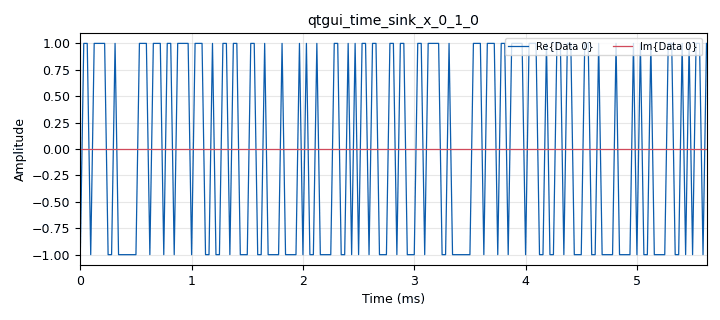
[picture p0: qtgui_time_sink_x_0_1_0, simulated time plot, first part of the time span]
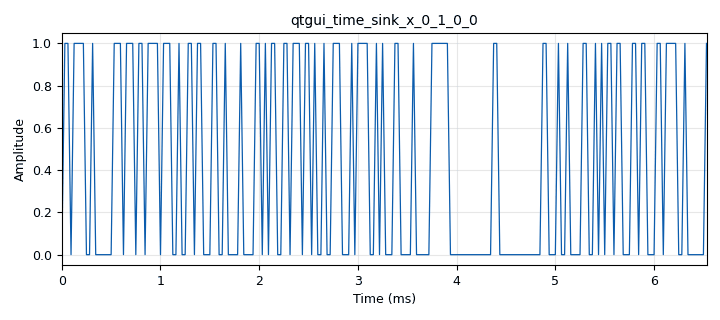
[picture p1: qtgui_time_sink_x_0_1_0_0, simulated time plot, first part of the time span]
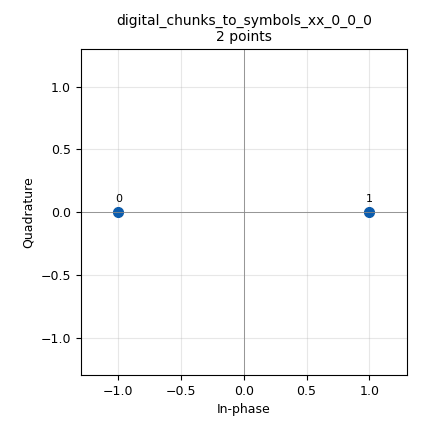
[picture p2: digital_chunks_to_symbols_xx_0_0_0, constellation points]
options:
  parameters:
    author: Aaron Scher
    description: 'This example shows the basics of frame syncing. '
    generate_options: qt_gui
    id: top_block
    output_language: python
    title: Frame Sync Example
  states: {}

blocks:
- name: samp_rate
  id: variable
  parameters:
    value: '32000'
  states: {}
- name: blocks_char_to_float_0
  id: blocks_char_to_float
  parameters:
    scale: '1'
  states: {}
- name: blocks_message_debug_0
  id: blocks_message_debug
  parameters:
    comment: Display the message that was sent.
  states: {}
- name: blocks_message_strobe_0_0
  id: blocks_message_strobe
  parameters:
    comment: Generate hello world message
    msg: pmt.cons(pmt.make_dict(), pmt.pmt_to_python.numpy_to_uvector(numpy.array([ord(c) for c in "Hello world!"], numpy.uint8)))
    period: '500'
  states: {}
- name: blocks_pdu_to_tagged_stream_1
  id: blocks_pdu_to_tagged_stream
  parameters:
    tag: len_key
    type: byte
  states: {}
- name: blocks_repack_bits_bb_0_0
  id: blocks_repack_bits_bb
  parameters:
    comment: |-
      Access code block up ahead needs 1 byte
      per bit
    endianness: gr.GR_MSB_FIRST
    k: '8'
    l: hdr_const.bits_per_symbol()
    len_tag_key: len_key
  states: {}
- name: blocks_repack_bits_bb_0_0_0
  id: blocks_repack_bits_bb
  parameters:
    comment: Tagged Stream to PDU block up ahead needs packed bytes
    endianness: gr.GR_MSB_FIRST
    k: '1'
    l: '8'
    len_tag_key: len_key2
  states: {}
- name: blocks_tag_gate_0_0
  id: blocks_tag_gate
  parameters:
    comment: Simulate the "channel'... removes tags
    propagate_tags: 'False'
    type: byte
  states: {}
- name: blocks_tagged_stream_mux_0
  id: blocks_tagged_stream_mux
  parameters:
    comment: Append header to payload
    lengthtagname: len_key
    ninputs: '2'
    type: byte
  states: {}
- name: blocks_tagged_stream_to_pdu_0
  id: blocks_tagged_stream_to_pdu
  parameters:
    tag: len_key2
    type: byte
  states: {}
- name: blocks_throttle_0
  id: blocks_throttle
  parameters:
    comment: Slow things down :)
    samples_per_second: samp_rate
    type: byte
  states: {}
- name: digital_chunks_to_symbols_xx_0_0_0
  id: digital_chunks_to_symbols_xx
  parameters:
    comment: |-
      To display in time domain we map individual 
      bits to (complex) symbols
    dimension: '1'
    in_type: byte
    out_type: complex
    symbol_table: hdr_const.points()
  states: {}
- name: digital_correlate_access_code_xx_ts_1
  id: digital_correlate_access_code_xx_ts
  parameters:
    access_code: digital.packet_utils.default_access_code
    comment: Correlates with access code to extract the payload.
    tagname: len_key2
    threshold: '0'
    type: byte
  states: {}
- name: digital_protocol_formatter_bb_0
  id: digital_protocol_formatter_bb
  parameters:
    comment: Generate header
    format: hdr_format
    len_tag_key: len_key
  states: {}
- name: hdr_const
  id: parameter
  parameters:
    label: Header constellation
    value: digital.constellation_calcdist((digital.psk_2()[0]), (digital.psk_2()[1]), 2, 1).base()
  states: {}
- name: hdr_format
  id: parameter
  parameters:
    label: Header Formatter
    value: digital.header_format_default(digital.packet_utils.default_access_code, 0)
  states: {}
- name: import_0
  id: import
  parameters:
    imports: import numpy
  states: {}
- name: qtgui_time_sink_x_0_1_0
  id: qtgui_time_sink_x
  parameters:
    autoscale: 'True'
    comment: Display payloud in time domain
    label1: ''
    label2: ''
    size: '1024'
    srate: samp_rate
    type: complex
  states: {}
- name: qtgui_time_sink_x_0_1_0_0
  id: qtgui_time_sink_x
  parameters:
    autoscale: 'True'
    comment: Display payloud in time domain
    label1: ''
    size: '1024'
    srate: samp_rate
    type: float
  states: {}

connections:
- [blocks_char_to_float_0, '0', qtgui_time_sink_x_0_1_0_0, '0']
- [blocks_message_strobe_0_0, strobe, blocks_pdu_to_tagged_stream_1, pdus]
- [blocks_pdu_to_tagged_stream_1, '0', blocks_tagged_stream_mux_0, '1']
- [blocks_pdu_to_tagged_stream_1, '0', digital_protocol_formatter_bb_0, '0']
- [blocks_repack_bits_bb_0_0, '0', blocks_tag_gate_0_0, '0']
- [blocks_repack_bits_bb_0_0_0, '0', blocks_tagged_stream_to_pdu_0, '0']
- [blocks_tag_gate_0_0, '0', blocks_char_to_float_0, '0']
- [blocks_tag_gate_0_0, '0', digital_correlate_access_code_xx_ts_1, '0']
- [blocks_tagged_stream_mux_0, '0', blocks_throttle_0, '0']
- [blocks_tagged_stream_to_pdu_0, pdus, blocks_message_debug_0, print]
- [blocks_throttle_0, '0', blocks_repack_bits_bb_0_0, '0']
- [digital_chunks_to_symbols_xx_0_0_0, '0', qtgui_time_sink_x_0_1_0, '0']
- [digital_correlate_access_code_xx_ts_1, '0', blocks_repack_bits_bb_0_0_0, '0']
- [digital_correlate_access_code_xx_ts_1, '0', digital_chunks_to_symbols_xx_0_0_0, '0']
- [digital_protocol_formatter_bb_0, '0', blocks_tagged_stream_mux_0, '0']

metadata:
  file_format: 1
